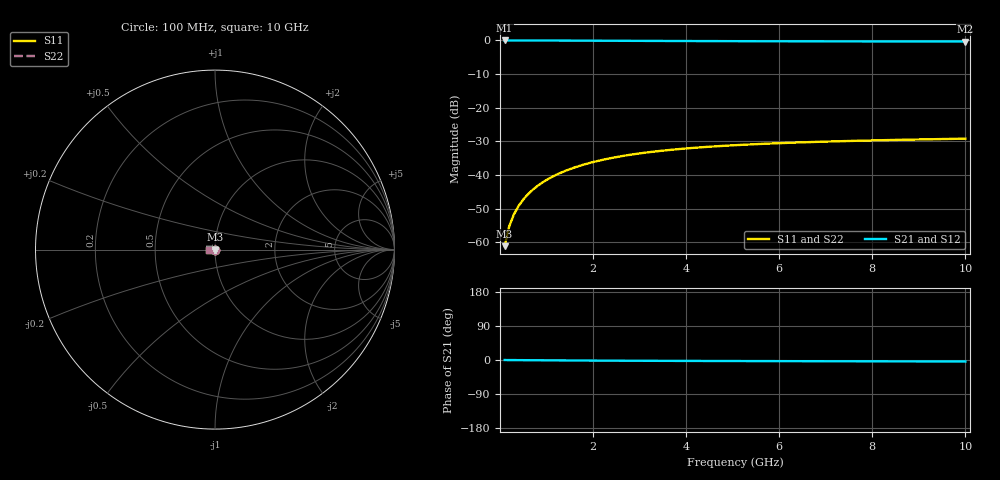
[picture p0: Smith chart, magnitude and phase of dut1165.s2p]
! Touchstone file exported from HFSS 2024.1.0
!  File:  C:/UserFiles/LocalFiles/RDL_TSV_Batchsim/temp_TSV1_1165_1780073235.aedt
!  Generated:  12:51:58 AM May 30, 2026
!  Design:  TSV1
!  Project:  temp_TSV1_1165_1780073235
!  Setup:  Setup1
!  Solution:  Sweep
! Variables:
!  dtsv = 8.59um
!  hbump = 3um
!  htsv = 60.89um
!  lrdl = 252.1521522um
!  p = 40
!  p1 = 40.5um
!  t = 500um
!  trdl = 3um
!  wrdl = 24.89489489um
# GHz S MA R 50.000000
! Terminal data exported
! Port[1] = TSV22_T1
! Port[2] = TSV22_T2
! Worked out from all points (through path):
!   100 points, 100 MHz to 10 GHz, reference 50 ohm
!   highest |S21| = 0.00 dB at 100 MHz (marker M1); lowest = -0.3 dB at 10 GHz (marker M2)
!   lowest |S11| = -61.2 dB at 100 MHz (marker M3), VSWR 1.00, Z = 50 - j0.0858 ohm
!   |S11| at or under -10 dB: start of sweep to end of sweep
!   |S22| runs from -61.2 to -29.2 dB; largest |S21 - S12| = 3.3e-15
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0.1  0.0008704 -80.3  0.9998 -0.1  0.9998 -0.1  0.0008704 -80.3
! Gamma 0 0 0 0
! Port Impedance 50 0 50 0
0.2  0.001728 -87.2  0.9997 -0.2  0.9997 -0.2  0.001728 -87.2
0.3  0.00259 -90.7  0.9996 -0.3  0.9996 -0.3  0.00259 -90.7
0.4  0.003447 -93.3  0.9994 -0.4  0.9994 -0.4  0.003447 -93.3
0.5  0.004298 -95.5  0.9992 -0.4  0.9992 -0.4  0.004298 -95.5
0.6  0.005141 -97.4  0.9989 -0.5  0.9989 -0.5  0.005141 -97.4
0.7  0.005974 -99.3  0.9986 -0.6  0.9986 -0.6  0.005974 -99.3
0.8  0.006797 -101.1  0.9983 -0.7  0.9983 -0.7  0.006797 -101.1
0.9  0.007608 -102.7  0.9979 -0.8  0.9979 -0.8  0.007608 -102.7
1.1  0.00919 -106.0  0.997 -0.9  0.997 -0.9  0.00919 -106.0
1.4  0.01145 -110.6  0.9955 -1.2  0.9955 -1.2  0.01145 -110.6
1.6  0.01287 -113.5  0.9944 -1.3  0.9944 -1.3  0.01287 -113.5
1.8  0.01423 -116.3  0.9932 -1.4  0.9932 -1.4  0.01423 -116.3
2.1  0.01612 -120.3  0.9913 -1.6  0.9913 -1.6  0.01612 -120.3
2.5  0.01839 -125.3  0.9888 -1.8  0.9888 -1.8  0.0184 -125.3
2.9  0.0204 -129.9  0.9864 -2.0  0.9864 -2.0  0.0204 -129.9
3.4  0.02256 -135.1  0.9834 -2.2  0.9834 -2.2  0.02256 -135.1
4.2  0.02536 -142.3  0.9793 -2.5  0.9793 -2.5  0.02536 -142.3
5.1  0.02778 -149.2  0.9754 -2.8  0.9754 -2.8  0.02778 -149.2
6.7  0.03082 -159.1  0.9703 -3.2  0.9703 -3.2  0.03082 -159.1
8.4  0.03303 -167.3  0.9665 -3.6  0.9665 -3.6  0.03303 -167.3
10  0.03459 -173.8  0.9641 -4.0  0.9641 -4.0  0.03459 -173.8
